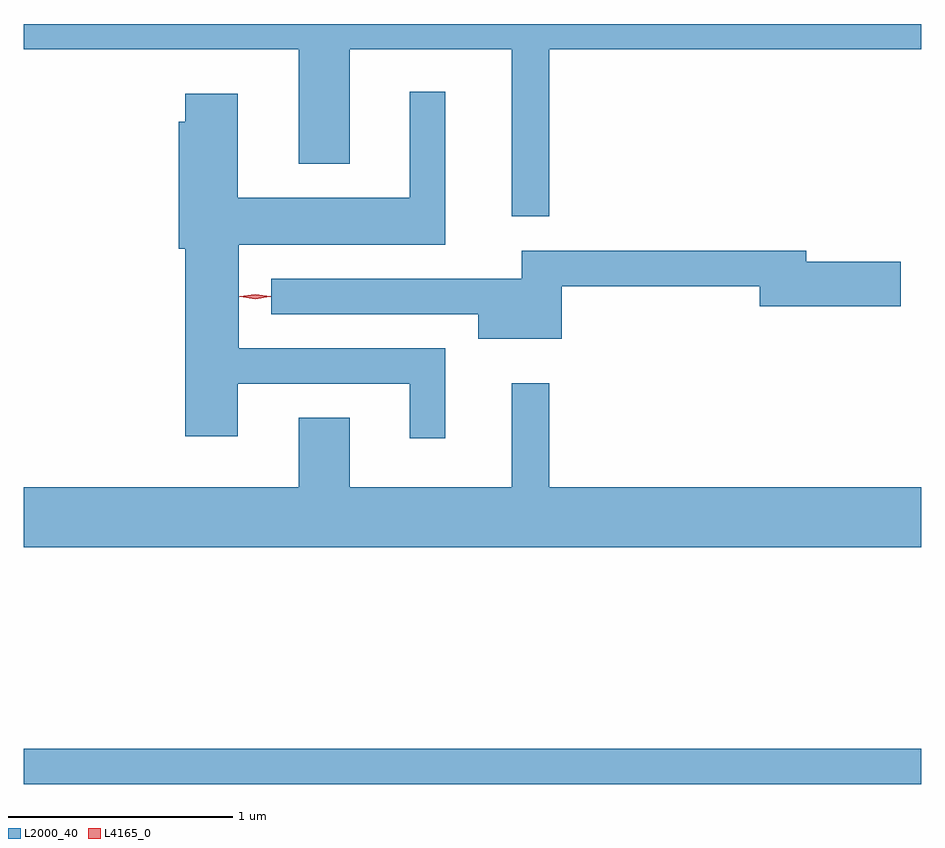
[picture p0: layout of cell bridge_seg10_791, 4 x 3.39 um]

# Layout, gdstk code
import gdstk
lib = gdstk.Library(unit=1e-6, precision=1e-09)
def R(c, l, rs):  # rectangles x0, y0, x1, y1
    for r in rs: c.add(gdstk.rectangle(r[:2], r[2:], *l))
def P(c, l, *ps):  # polygons
    for p in ps: c.add(gdstk.Polygon(p, *l))
L2000_40 = (2000, 40)
L4165_0 = (4165, 0)

bridge_seg10_791 = lib.new_cell('bridge_seg10_791')
R(bridge_seg10_791, L2000_40, [(206.066,2203.881,210.066,2204.039)])
P(bridge_seg10_791, L2000_40, [(208.409,2207.156),(210.066,2207.156),(210.066,2207.269),(206.066,2207.269),(206.066,2207.156),(207.291,2207.156),(207.291,2206.646),(207.519,2206.646),(207.519,2207.156),(208.241,2207.156),(208.241,2206.413),(208.409,2206.413)],
  [(207.944,2205.824),(207.024,2205.824),(207.024,2206.286),(207.944,2206.286),(207.944,2206.968),(207.786,2206.968),(207.786,2206.494),(207.019,2206.494),(207.019,2206.959),(206.786,2206.959),(206.786,2206.834),(206.756,2206.834),(206.756,2206.266),(206.786,2206.266),(206.786,2205.431),(207.019,2205.431),(207.019,2205.666),(207.786,2205.666),(207.786,2205.423),(207.944,2205.423)],
  [(208.464,2206.101),(209.346,2206.101),(209.346,2206.011),(209.974,2206.011),(209.974,2206.209),(209.554,2206.209),(209.554,2206.259),(208.286,2206.259),(208.286,2206.134),(207.168,2206.134),(207.168,2205.976),(208.091,2205.976),(208.091,2205.866),(208.464,2205.866)],
  [(210.066,2205.204),(208.409,2205.204),(208.409,2205.668),(208.241,2205.668),(208.241,2205.204),(207.519,2205.204),(207.519,2205.514),(207.291,2205.514),(207.291,2205.204),(206.066,2205.204),(206.066,2204.936),(210.066,2204.936)])
P(bridge_seg10_791, L4165_0, [(207.097,2206.044),(207.028,2206.054),(207.027,2206.054),(207.028,2206.055),(207.097,2206.064),(207.166,2206.055),(207.166,2206.054),(207.166,2206.054)],
  [(207.097,2206.043),(207.031,2206.052),(207.03,2206.053),(207.031,2206.053),(207.097,2206.063),(207.162,2206.053),(207.163,2206.053),(207.162,2206.052)])

lib.write_gds('bridge_seg10_791.gds')
